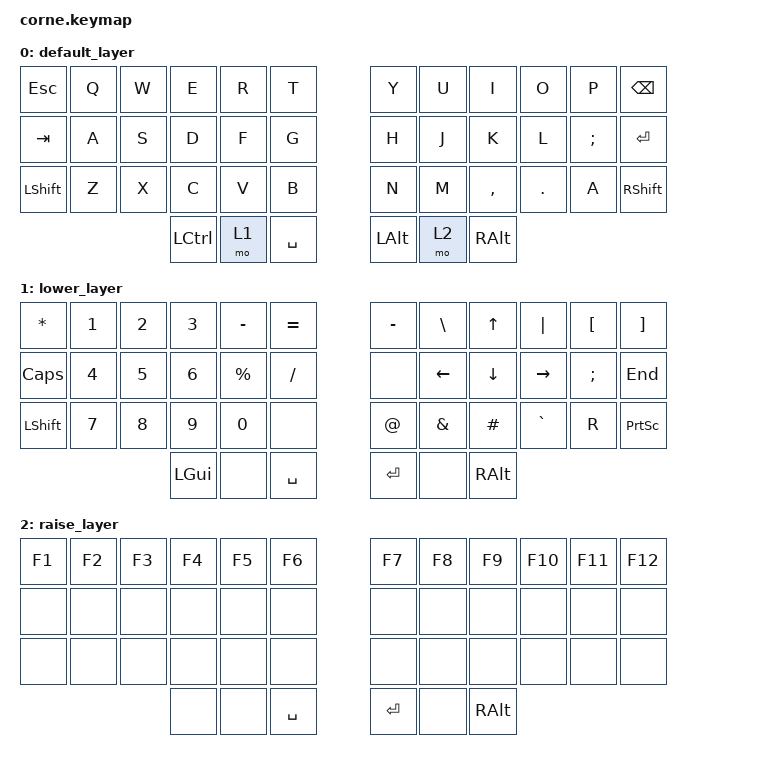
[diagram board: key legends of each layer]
#include <behaviors.dtsi>
#include <dt-bindings/zmk/keys.h>

/ {
    keymap {
        compatible = "zmk,keymap";

        default_layer {
            bindings = <
&kp ESC    &kp Q  &kp W  &kp E      &kp R  &kp T        &kp Y     &kp U  &kp I      &kp O    &kp P     &kp BSPC
&kp TAB    &kp A  &kp S  &kp D      &kp F  &kp G        &kp H     &kp J  &kp K      &kp L    &kp SEMI  &kp ENTER
&kp LSHFT  &kp Z  &kp X  &kp C      &kp V  &kp B        &kp N     &kp M  &kp COMMA  &kp DOT  &kp A     &kp RSHFT
                         &kp LCTRL  &mo 1  &kp SPACE    &kp LALT  &mo 2  &kp RALT
            >;
        };

        lower_layer {
            bindings = <
&kp ASTERISK  &kp N1  &kp N2  &kp N3    &kp MINUS    &kp EQUAL    &kp MINUS  &kp BSLH  &kp UP    &kp PIPE   &kp LBKT  &kp RBKT
&kp CAPS      &kp N4  &kp N5  &kp N6    &kp PERCENT  &kp SLASH    &none      &kp LEFT  &kp DOWN  &kp RIGHT  &kp SEMI  &kp END
&kp LSHFT     &kp N7  &kp N8  &kp N9    &kp N0       &none        &kp AT     &kp AMPS  &kp HASH  &kp GRAVE  &kp R     &kp PRINTSCREEN
                              &kp LGUI  &none        &kp SPACE    &kp ENTER  &none     &kp RALT
            >;
        };

        raise_layer {
            bindings = <
&kp F1  &kp F2  &kp F3  &kp F4  &kp F5  &kp F6       &kp F7     &kp F8  &kp F9    &kp F10  &kp F11  &kp F12
&none   &none   &none   &none   &none   &none        &none      &none   &none     &none    &none    &none
&none   &none   &none   &none   &none   &none        &none      &none   &none     &none    &none    &none
                        &none   &none   &kp SPACE    &kp ENTER  &none   &kp RALT
            >;
        };
    };
};
